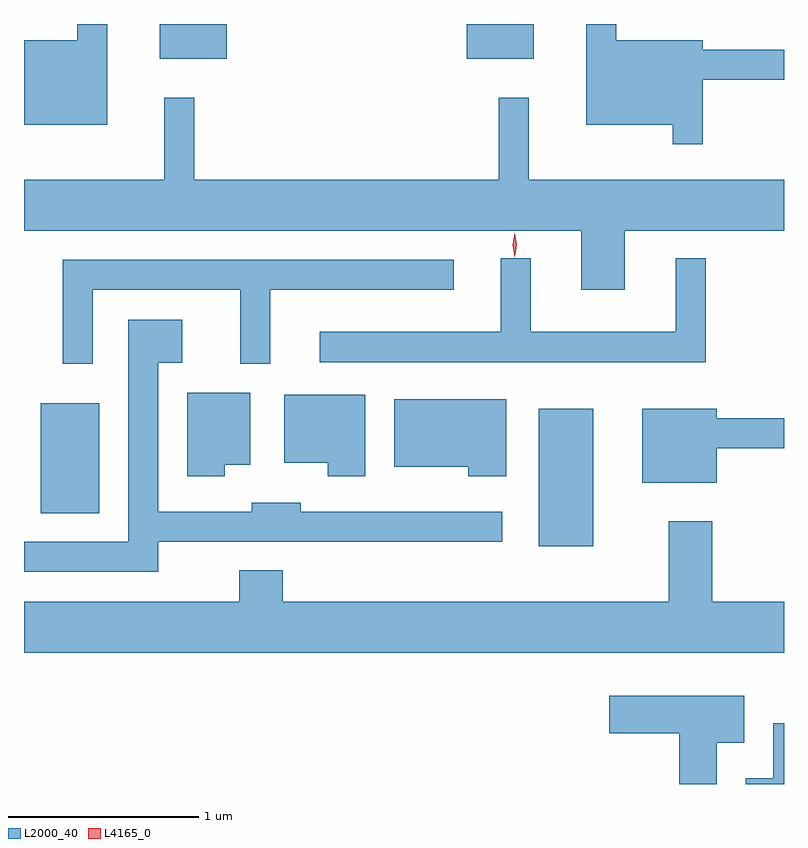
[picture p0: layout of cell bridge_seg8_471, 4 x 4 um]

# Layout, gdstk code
import gdstk
lib = gdstk.Library(unit=1e-6, precision=1e-09)
def R(c, l, rs):  # rectangles x0, y0, x1, y1
    for r in rs: c.add(gdstk.rectangle(r[:2], r[2:], *l))
def P(c, l, *ps):  # polygons
    for p in ps: c.add(gdstk.Polygon(p, *l))
L2000_40 = (2000, 40)
L4165_0 = (4165, 0)

bridge_seg8_471 = lib.new_cell('bridge_seg8_471')
R(bridge_seg8_471, L2000_40, [(466.156,1903.576,466.444,1904.299), (463.536,1903.751,463.844,1904.329), (464.161,1906.141,464.514,1906.325), (465.776,1906.141,466.129,1906.325)])
P(bridge_seg8_471, L2000_40, [(463.884,1906.325),(463.726,1906.325),(463.726,1906.239),(463.447,1906.239),(463.447,1905.796),(463.884,1905.796)],
  [(467.019,1906.031),(467.447,1906.031),(467.447,1906.189),(467.019,1906.189),(467.019,1906.239),(466.564,1906.239),(466.564,1906.325),(466.406,1906.325),(466.406,1905.796),(466.861,1905.796),(466.861,1905.693),(467.019,1905.693)],
  [(466.609,1905.236),(467.447,1905.236),(467.447,1905.504),(466.104,1905.504),(466.104,1905.938),(465.946,1905.938),(465.946,1905.504),(464.344,1905.504),(464.344,1905.938),(464.186,1905.938),(464.186,1905.504),(463.447,1905.504),(463.447,1905.236),(466.381,1905.236),(466.381,1904.926),(466.609,1904.926)],
  [(467.034,1905.093),(466.876,1905.093),(466.876,1904.704),(466.114,1904.704),(466.114,1905.093),(465.956,1905.093),(465.956,1904.704),(465.003,1904.704),(465.003,1904.546),(467.034,1904.546)],
  [(463.809,1904.926),(464.586,1904.926),(464.586,1904.538),(464.744,1904.538),(464.744,1904.926),(465.708,1904.926),(465.708,1905.084),(463.651,1905.084),(463.651,1904.538),(463.809,1904.538)],
  [(464.154,1903.601),(465.963,1903.601),(465.963,1903.759),(464.904,1903.759),(464.904,1903.804),(464.646,1903.804),(464.646,1903.759),(464.154,1903.759),(464.154,1904.541),(464.279,1904.541),(464.279,1904.769),(463.996,1904.769),(463.996,1903.599),(463.447,1903.599),(463.447,1903.441),(464.154,1903.441)],
  [(464.504,1904.006),(464.639,1904.006),(464.639,1904.384),(464.306,1904.384),(464.306,1903.946),(464.504,1903.946)],
  [(465.244,1904.374),(464.816,1904.374),(464.816,1904.016),(465.046,1904.016),(465.046,1903.946),(465.244,1903.946)],
  [(465.984,1904.349),(465.396,1904.349),(465.396,1903.996),(465.786,1903.996),(465.786,1903.946),(465.984,1903.946)],
  [(467.094,1904.091),(467.447,1904.091),(467.447,1904.249),(467.094,1904.249),(467.094,1904.299),(466.701,1904.299),(466.701,1903.911),(467.094,1903.911)],
  [(467.447,1903.284),(467.069,1903.284),(467.069,1903.709),(466.841,1903.709),(466.841,1903.284),(464.809,1903.284),(464.809,1903.449),(464.581,1903.449),(464.581,1903.284),(463.447,1903.284),(463.447,1903.016),(467.447,1903.016)],
  [(467.094,1902.541),(467.239,1902.541),(467.239,1902.789),(466.526,1902.789),(466.526,1902.591),(466.896,1902.591),(466.896,1902.325),(467.094,1902.325)],
  [(467.447,1902.644),(467.391,1902.644),(467.391,1902.354),(467.246,1902.354),(467.246,1902.325),(467.447,1902.325)])
P(bridge_seg8_471, L4165_0, [(466.03,1905.098),(466.02,1905.162),(466.029,1905.225),(466.03,1905.226),(466.03,1905.225),(466.04,1905.162),(466.031,1905.098),(466.031,1905.098)])

lib.write_gds('bridge_seg8_471.gds')
